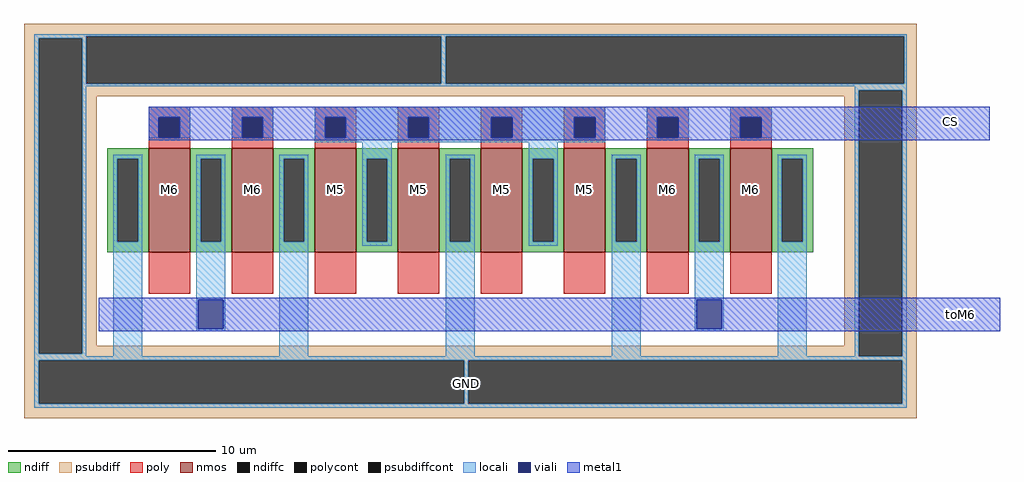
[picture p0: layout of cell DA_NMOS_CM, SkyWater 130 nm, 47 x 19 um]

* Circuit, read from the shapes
.subckt DA_NMOS_CM CS toM6 GND
XM1 toM6 CS GND GND sky130_fd_pr__nfet_01v8 w=5 l=2 m=4
XM2 CS CS GND GND sky130_fd_pr__nfet_01v8 w=5 l=2 m=4
.ends

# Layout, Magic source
magic
tech sky130A
magscale 1 2
<< nmos >>
rect -200 -200 200 800
rect 600 -200 1000 800
rect 1400 -200 1800 800
rect 2200 -200 2600 800
rect 3000 -200 3400 800
rect 3800 -200 4200 800
rect 4600 -200 5000 800
rect 5400 -200 5800 800
<< ndiff >>
rect -600 700 -200 800
rect -600 -100 -500 700
rect -300 -100 -200 700
rect -600 -200 -200 -100
rect 200 700 600 800
rect 200 -100 300 700
rect 500 -100 600 700
rect 200 -200 600 -100
rect 1000 700 1400 800
rect 1000 -100 1100 700
rect 1300 -100 1400 700
rect 1000 -200 1400 -100
rect 1800 700 2200 800
rect 1800 -100 1900 700
rect 2100 -100 2200 700
rect 1800 -200 2200 -100
rect 2600 700 3000 800
rect 2600 -100 2700 700
rect 2900 -100 3000 700
rect 2600 -200 3000 -100
rect 3400 700 3800 800
rect 3400 -100 3500 700
rect 3700 -100 3800 700
rect 3400 -200 3800 -100
rect 4200 700 4600 800
rect 4200 -100 4300 700
rect 4500 -100 4600 700
rect 4200 -200 4600 -100
rect 5000 700 5400 800
rect 5000 -100 5100 700
rect 5300 -100 5400 700
rect 5000 -200 5400 -100
rect 5800 700 6200 800
rect 5800 -100 5900 700
rect 6100 -100 6200 700
rect 5800 -200 6200 -100
<< ndiffc >>
rect -500 -100 -300 700
rect 300 -100 500 700
rect 1100 -100 1300 700
rect 1900 -100 2100 700
rect 2700 -100 2900 700
rect 3500 -100 3700 700
rect 4300 -100 4500 700
rect 5100 -100 5300 700
rect 5900 -100 6100 700
<< psubdiff >>
rect -1400 1880 7200 2000
rect -1400 1860 -800 1880
rect -1400 -1180 -1260 1860
rect -840 1420 -800 1860
rect 2620 1420 2660 1880
rect 7080 1420 7200 1880
rect -840 1360 7200 1420
rect -840 1300 6640 1360
rect -840 -1099 -700 1300
rect 6500 -1099 6640 1300
rect -840 -1180 6640 -1099
rect -1400 -1200 6640 -1180
rect 7060 -1200 7200 1360
rect -1400 -1240 7200 -1200
rect -1400 -1660 -1260 -1240
rect 2840 -1660 2880 -1240
rect 7060 -1660 7200 -1240
rect -1400 -1799 7200 -1660
<< psubdiffcont >>
rect -1260 -1180 -840 1860
rect -800 1420 2620 1880
rect 2660 1420 7080 1880
rect 6640 -1200 7060 1360
rect -1260 -1660 2840 -1240
rect 2880 -1660 7060 -1240
<< poly >>
rect -200 1100 200 1200
rect -200 900 -100 1100
rect 100 900 200 1100
rect -200 800 200 900
rect 600 1100 1000 1200
rect 600 900 700 1100
rect 900 900 1000 1100
rect 600 800 1000 900
rect 1400 1100 1800 1200
rect 1400 900 1500 1100
rect 1700 900 1800 1100
rect 1400 800 1800 900
rect 2200 1100 2600 1200
rect 2200 900 2300 1100
rect 2500 900 2600 1100
rect 2200 800 2600 900
rect 3000 1100 3400 1200
rect 3000 900 3100 1100
rect 3300 900 3400 1100
rect 3000 800 3400 900
rect 3800 1100 4200 1200
rect 3800 900 3900 1100
rect 4100 900 4200 1100
rect 3800 800 4200 900
rect 4600 1100 5000 1200
rect 4600 900 4700 1100
rect 4900 900 5000 1100
rect 4600 800 5000 900
rect 5400 1100 5800 1200
rect 5400 900 5500 1100
rect 5700 900 5800 1100
rect 5400 800 5800 900
rect -200 -600 200 -200
rect 600 -600 1000 -200
rect 1400 -600 1800 -200
rect 2200 -600 2600 -200
rect 3000 -600 3400 -200
rect 3800 -600 4200 -200
rect 4600 -600 5000 -200
rect 5400 -600 5800 -200
<< polycont >>
rect -100 900 100 1100
rect 700 900 900 1100
rect 1500 900 1700 1100
rect 2300 900 2500 1100
rect 3100 900 3300 1100
rect 3900 900 4100 1100
rect 4700 900 4900 1100
rect 5500 900 5700 1100
<< locali >>
rect -1300 1880 7100 1900
rect -1300 1860 -800 1880
rect -1300 -1180 -1260 1860
rect -840 1420 -800 1860
rect 2620 1420 2660 1880
rect 7080 1420 7100 1880
rect -840 1400 7100 1420
rect -840 -1180 -800 1400
rect 6600 1360 7100 1400
rect -200 1100 200 1200
rect -200 900 -100 1100
rect 100 900 200 1100
rect 600 1100 1000 1200
rect 600 900 700 1100
rect 900 900 1000 1100
rect 1400 1100 4200 1200
rect 1400 900 1500 1100
rect 1700 900 2300 1100
rect 2500 900 3100 1100
rect 3300 900 3900 1100
rect 4100 900 4200 1100
rect 4600 1100 5000 1200
rect 4600 900 4700 1100
rect 4900 900 5000 1100
rect 5400 1100 5800 1200
rect 5400 900 5500 1100
rect 5700 900 5800 1100
rect 1400 860 4200 900
rect -1300 -1200 -800 -1180
rect -540 700 -260 740
rect -540 -100 -500 700
rect -300 -100 -260 700
rect -540 -1200 -260 -100
rect 260 700 540 740
rect 260 -100 300 700
rect 500 -100 540 700
rect 260 -659 540 -100
rect 260 -939 280 -659
rect 520 -939 540 -659
rect 260 -959 540 -939
rect 1060 700 1340 740
rect 1060 -100 1100 700
rect 1300 -100 1340 700
rect 1060 -1200 1340 -100
rect 1860 700 2140 860
rect 1860 -100 1900 700
rect 2100 -100 2140 700
rect 1860 -140 2140 -100
rect 2660 700 2940 740
rect 2660 -100 2700 700
rect 2900 -100 2940 700
rect 2660 -1200 2940 -100
rect 3460 700 3740 860
rect 3460 -100 3500 700
rect 3700 -100 3740 700
rect 3460 -140 3740 -100
rect 4260 700 4540 740
rect 4260 -100 4300 700
rect 4500 -100 4540 700
rect 4260 -1200 4540 -100
rect 5060 700 5340 740
rect 5060 -100 5100 700
rect 5300 -100 5340 700
rect 5060 -659 5340 -100
rect 5060 -939 5080 -659
rect 5320 -939 5340 -659
rect 5060 -959 5340 -939
rect 5860 700 6140 740
rect 5860 -100 5900 700
rect 6100 -100 6140 700
rect 5860 -1200 6140 -100
rect 6600 -1200 6640 1360
rect 7060 -1200 7100 1360
rect -1300 -1240 7100 -1200
rect -1300 -1660 -1260 -1240
rect 2840 -1660 2880 -1240
rect 7060 -1660 7100 -1240
rect -1300 -1700 7100 -1660
<< viali >>
rect -100 900 100 1100
rect 700 900 900 1100
rect 1500 900 1700 1100
rect 2300 900 2500 1100
rect 3100 900 3300 1100
rect 3900 900 4100 1100
rect 4700 900 4900 1100
rect 5500 900 5700 1100
rect 280 -939 520 -659
rect 5080 -939 5320 -659
<< metal1 >>
rect -200 1100 7900 1200
rect -200 900 -100 1100
rect 100 900 700 1100
rect 900 900 1500 1100
rect 1700 900 2300 1100
rect 2500 900 3100 1100
rect 3300 900 3900 1100
rect 4100 900 4700 1100
rect 4900 900 5500 1100
rect 5700 900 7900 1100
rect -200 880 7900 900
rect -680 -659 8000 -639
rect -680 -939 280 -659
rect 520 -939 5080 -659
rect 5320 -939 8000 -659
rect -680 -959 8000 -939
<< labels >>
flabel nmos 1600 400 1600 400 0 FreeSans 1600 0 0 0 M5
flabel nmos 2400 400 2400 400 0 FreeSans 1600 0 0 0 M5
flabel nmos 3200 400 3200 400 0 FreeSans 1600 0 0 0 M5
flabel nmos 4000 400 4000 400 0 FreeSans 1600 0 0 0 M5
flabel nmos 4800 400 4800 400 0 FreeSans 1600 0 0 0 M6
flabel nmos 5600 400 5600 400 0 FreeSans 1600 0 0 0 M6
flabel nmos 0 400 0 400 0 FreeSans 1600 0 0 0 M6
flabel nmos 800 400 800 400 0 FreeSans 1600 0 0 0 M6
flabel metal1 7520 1060 7520 1060 0 FreeSans 1600 0 0 0 CS
port 1 nsew
flabel metal1 7620 -799 7620 -799 0 FreeSans 1600 0 0 0 toM6
port 2 nsew
flabel locali 2860 -1460 2860 -1460 0 FreeSans 1600 0 0 0 GND
port 3 nsew
<< end >>
